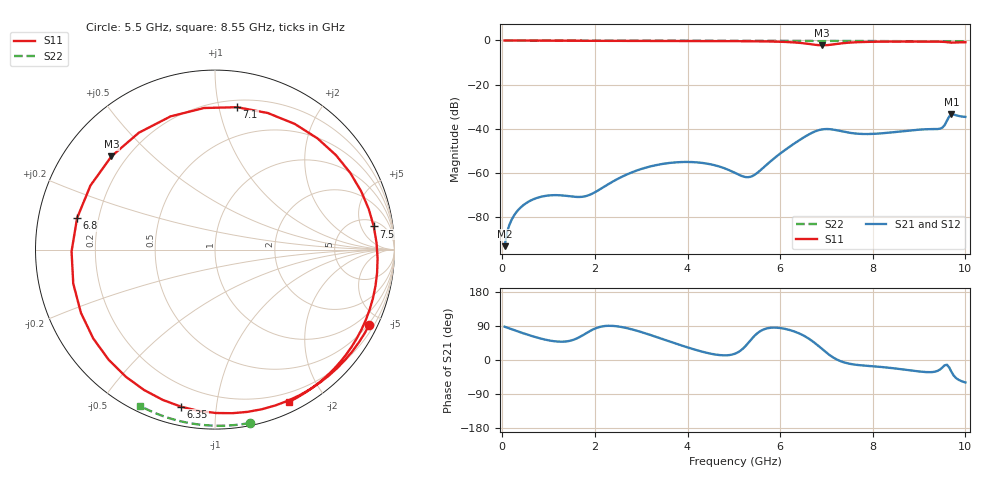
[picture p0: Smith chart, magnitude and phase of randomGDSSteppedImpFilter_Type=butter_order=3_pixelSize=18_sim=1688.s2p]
! freq	dB(S11)	phase(S11)	dB(S12)	phase(S12)
!  dB(S21)	phase(S21)	dB(S22)	phase(S22)
!S-par simulation data
#  GHz  S  DB  R 50
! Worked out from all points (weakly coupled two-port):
!   200 points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, 50 MHz to 10 GHz, reference 50 ohm
!   highest |S21| = -33.46 dB at 9.7 GHz (marker M1); lowest = -93.0 dB at 50 MHz (marker M2)
!   lowest |S11| = -2.2 dB at 6.9 GHz (marker M3), VSWR 7.95, Z = 7.2 + j18.9 ohm
!   |S11| at or under -10 dB: nowhere
!   |S22| runs from -0.4 to 0.0 dB; largest |S21 - S12| = 0
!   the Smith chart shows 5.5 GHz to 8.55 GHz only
!   S11 on the Smith chart (normalised r, x): 5.5 GHz: 0.43, -4.28; 6.35 GHz: 0.09, -0.80; 6.8 GHz: 0.12, +0.11; 7.1 GHz: 0.25, +1.13; 7.5 GHz: 7, +9; 8.55 GHz: 0.10, -1.59
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0.05  -0.00 -3.7  -92.96 87.8  -92.96 87.8  -0.00 -0.8
0.95  -0.09 -69.2  -70.17 53.1  -70.17 53.1  -0.02 -14.4
1.75  -0.15 -126.7  -70.57 66.1  -70.57 66.1  -0.03 -26.4
2.55  -0.20 176.0  -61.93 87.6  -61.93 87.6  -0.05 -38.1
3.4  -0.25 115.0  -56.01 57.8  -56.01 57.8  -0.07 -50.3
4.1  -0.27 66.2  -54.96 29.5  -54.96 29.5  -0.08 -60.0
5.05  -0.32 3.7  -60.10 18.0  -60.10 18.0  -0.11 -72.7
5.5  -0.39 -26.1  -59.95 69.8  -59.95 69.8  -0.13 -78.6
5.95  -0.55 -60.0  -51.93 85.0  -51.93 85.0  -0.15 -84.3
6.35  -0.96 -102.1  -45.95 73.2  -45.95 73.2  -0.16 -89.3
6.7  -1.81 -166.5  -41.61 49.4  -41.61 49.4  -0.18 -93.7
6.8  -2.07 167.1  -40.75 39.9  -40.75 39.9  -0.19 -94.9
6.9  -2.20 138.0  -40.21 29.6  -40.21 29.6  -0.19 -96.1
7.1  -1.91 81.2  -40.15 10.3  -40.15 10.3  -0.20 -98.5
7.3  -1.36 38.0  -40.92 -2.8  -40.92 -2.8  -0.21 -100.9
7.5  -0.97 8.3  -41.71 -9.9  -41.71 -9.9  -0.23 -103.3
7.9  -0.63 -28.8  -42.28 -15.6  -42.28 -15.6  -0.26 -108.1
8.35  -0.52 -54.9  -41.66 -20.4  -41.66 -20.4  -0.29 -113.3
8.55  -0.51 -64.1  -41.23 -23.3  -41.23 -23.3  -0.31 -115.7
9.45  -0.57 -97.7  -39.88 -25.2  -39.88 -25.2  -0.39 -125.9
9.7  -0.99 -104.8  -33.46 -31.6  -33.46 -31.6  -0.40 -128.8
10  -0.79 -112.8  -34.54 -59.3  -34.54 -59.3  -0.44 -132.3
